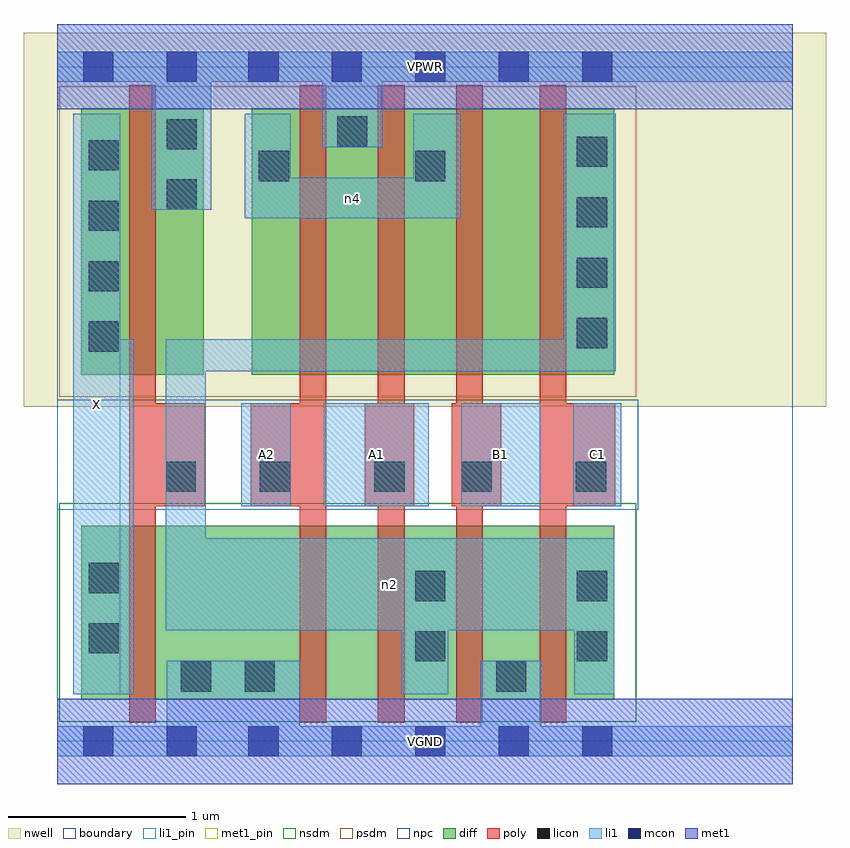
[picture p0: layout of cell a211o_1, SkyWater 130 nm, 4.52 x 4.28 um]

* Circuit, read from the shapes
.subckt a211o_1 A1 A2 B1 C1 VGND VPWR X n2 n4
XM1 VGND n2 X VSUBS sky130_fd_pr__nfet_01v8 w=0.98 l=0.15
XM2 n1 A2 VGND VSUBS sky130_fd_pr__nfet_01v8 w=0.98 l=0.15
XM3 n2 A1 n1 VSUBS sky130_fd_pr__nfet_01v8 w=0.98 l=0.15
XM4 VGND B1 n2 VSUBS sky130_fd_pr__nfet_01v8 w=0.98 l=0.15
XM5 n2 C1 VGND VSUBS sky130_fd_pr__nfet_01v8 w=0.98 l=0.15
XM6 VPWR n2 X n3 sky130_fd_pr__pfet_01v8 w=1.5 l=0.15
XM7 VPWR A2 n4 n3 sky130_fd_pr__pfet_01v8 w=1.5 l=0.15
XM8 n4 A1 VPWR n3 sky130_fd_pr__pfet_01v8 w=1.5 l=0.15
XM9 n5 B1 n4 n3 sky130_fd_pr__pfet_01v8 w=1.5 l=0.15
XM10 n2 C1 n5 n3 sky130_fd_pr__pfet_01v8 w=1.5 l=0.15
.ends

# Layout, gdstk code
import gdstk
lib = gdstk.Library(unit=1e-6, precision=1e-09)
def R(c, l, rs):  # rectangles x0, y0, x1, y1
    for r in rs: c.add(gdstk.rectangle(r[:2], r[2:], *l))
def A(c, l, x, y, w, h, nx, ny, dx, dy):  # array of equal rectangles
    R(c, l, [(x+i*dx, y+j*dy, x+i*dx+w, y+j*dy+h) for i in range(nx) for j in range(ny)])
nwell = (64, 20)
diff = (65, 20)
poly = (66, 20)
licon = (66, 44)
li1_pin = (67, 16)
li1 = (67, 20)
mcon = (67, 44)
met1_pin = (68, 16)
met1 = (68, 20)
nsdm = (93, 44)
psdm = (94, 20)
npc = (95, 20)
boundary = (235, 4)

a211o_1 = lib.new_cell('a211o_1')
R(a211o_1, nwell, [(-0.19,1.885,4.33,3.99), (0,1.885,4.14,3.99)])
R(a211o_1, diff, [(0.135,0.235,3.135,1.215), (0.135,2.065,0.825,3.565), (1.095,2.065,3.135,3.565)])
A(a211o_1, poly, 1.365, 0.105, 0.15, 3.59, 3, 1, 0.44, 0)
R(a211o_1, poly, [(0.405,0.105,0.555,3.695), (2.715,0.105,2.865,3.695), (0.405,1.325,0.83,1.905), (1.09,1.325,1.515,1.905), (1.73,1.325,2.01,1.905), (2.22,1.325,2.5,1.905), (2.715,1.325,3.14,1.905)])
A(a211o_1, licon, 0.175, 2.195, 0.17, 0.17, 1, 4, 0, 0.34)
A(a211o_1, licon, 2.925, 2.215, 0.17, 0.17, 1, 4, 0, 0.34)
R(a211o_1, licon, [(0.695,0.28,0.865,0.45), (1.055,0.28,1.225,0.45), (2.47,0.28,2.64,0.45), (2.015,0.45,2.185,0.62), (2.925,0.45,3.095,0.62), (0.175,0.495,0.345,0.665), (2.015,0.79,2.185,0.96), (2.925,0.79,3.095,0.96), (0.175,0.835,0.345,1.005), (0.61,1.405,0.78,1.575), (1.14,1.405,1.31,1.575), (1.785,1.405,1.955,1.575), (2.275,1.405,2.445,1.575), (2.92,1.405,3.09,1.575), (0.615,2.995,0.785,3.165), (1.135,3.155,1.305,3.325), (2.015,3.155,2.185,3.325), (0.615,3.335,0.785,3.505), (1.575,3.35,1.745,3.52)])
R(a211o_1, li1_pin, [(0.09,0.265,0.355,3.535), (1.035,1.325,1.315,1.905), (1.5,1.325,2.09,1.905), (2.275,1.325,2.72,1.905), (2.905,1.325,3.175,1.905)])
R(a211o_1, li1, [(0,-0.085,4.14,0.085), (0.615,-0.085,1.365,0.455), (2.385,-0.085,2.725,0.455), (0.09,0.265,0.355,3.535), (0.09,0.265,0.43,2.265), (1.94,0.265,2.2,1.145), (2.91,0.265,3.135,1.145), (0.61,0.625,3.135,1.145), (0.61,0.625,0.835,2.265), (1.035,1.325,1.315,1.905), (1.5,1.325,2.09,1.905), (2.275,1.325,2.72,1.905), (2.905,1.325,3.175,1.905), (0.61,2.085,3.145,2.265), (2.85,2.085,3.145,3.535), (1.055,2.945,2.27,3.175), (1.055,2.945,1.315,3.535), (2.005,2.945,2.27,3.535), (0.53,2.995,0.865,3.885), (1.49,3.345,1.83,3.885), (0,3.715,4.14,3.885)])
A(a211o_1, mcon, 1.075, -0.085, 0.17, 0.17, 5, 2, 0.47, 3.8)
R(a211o_1, mcon, [(0.145,-0.085,0.315,0.085), (0.615,-0.085,0.785,0.085), (0.145,3.715,0.315,3.885), (0.615,3.715,0.785,3.885)])
R(a211o_1, met1_pin, [(0,-0.24,4.14,0.24), (0,3.56,4.14,4.04)])
R(a211o_1, met1, [(0,-0.24,4.14,0.24), (0,3.56,4.14,4.04)])
R(a211o_1, nsdm, [(0.01,0.11,3.26,1.34)])
R(a211o_1, psdm, [(0.01,1.94,3.26,3.69)])
R(a211o_1, npc, [(0,1.305,3.27,1.925)])
R(a211o_1, boundary, [(0,0,4.14,3.8)])
a211o_1.add(gdstk.Label('A1', (1.795,1.615), layer=67, texttype=5))
a211o_1.add(gdstk.Label('A2', (1.175,1.615), layer=67, texttype=5))
a211o_1.add(gdstk.Label('B1', (2.497,1.615), layer=67, texttype=5))
a211o_1.add(gdstk.Label('C1', (3.04,1.615), layer=67, texttype=5))
a211o_1.add(gdstk.Label('X', (0.222,1.9), layer=67, texttype=5))
a211o_1.add(gdstk.Label('n4', (1.662,3.06), layer=67, texttype=5))
a211o_1.add(gdstk.Label('n2', (1.872,0.885), layer=67, texttype=5))
a211o_1.add(gdstk.Label('VPWR', (2.07,3.8), layer=68, texttype=5))
a211o_1.add(gdstk.Label('VGND', (2.07,0), layer=68, texttype=5))
a211o_1.add(gdstk.Label('A1', (1.795,1.615), layer=67, texttype=16))
a211o_1.add(gdstk.Label('A2', (1.175,1.615), layer=67, texttype=16))
a211o_1.add(gdstk.Label('B1', (2.497,1.615), layer=67, texttype=16))
a211o_1.add(gdstk.Label('C1', (3.04,1.615), layer=67, texttype=16))
a211o_1.add(gdstk.Label('X', (0.222,1.9), layer=67, texttype=16))
a211o_1.add(gdstk.Label('VPWR', (2.07,3.8), layer=68, texttype=16))
a211o_1.add(gdstk.Label('VGND', (2.07,0), layer=68, texttype=16))

lib.write_gds('a211o_1.gds')
